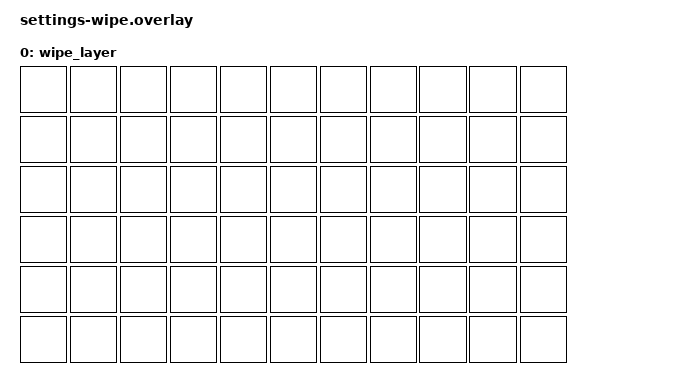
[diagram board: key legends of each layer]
/*
 * Settings wipe firmware: replace the keymap with one that does nothing, so
 * no key types anything while the wipe keys are held. Every position needs
 * a binding (66, the size_l layout): a missing one stops the key event
 * before it reaches the wipe code.
 */

/ {
    /delete-node/ keymap;
    /delete-node/ conditional_layers;

    keymap {
        compatible = "zmk,keymap";

        wipe_layer {
            bindings = <
                &none &none &none &none &none &none &none &none &none &none &none
                &none &none &none &none &none &none &none &none &none &none &none
                &none &none &none &none &none &none &none &none &none &none &none
                &none &none &none &none &none &none &none &none &none &none &none
                &none &none &none &none &none &none &none &none &none &none &none
                &none &none &none &none &none &none &none &none &none &none &none
            >;
        };
    };
};
